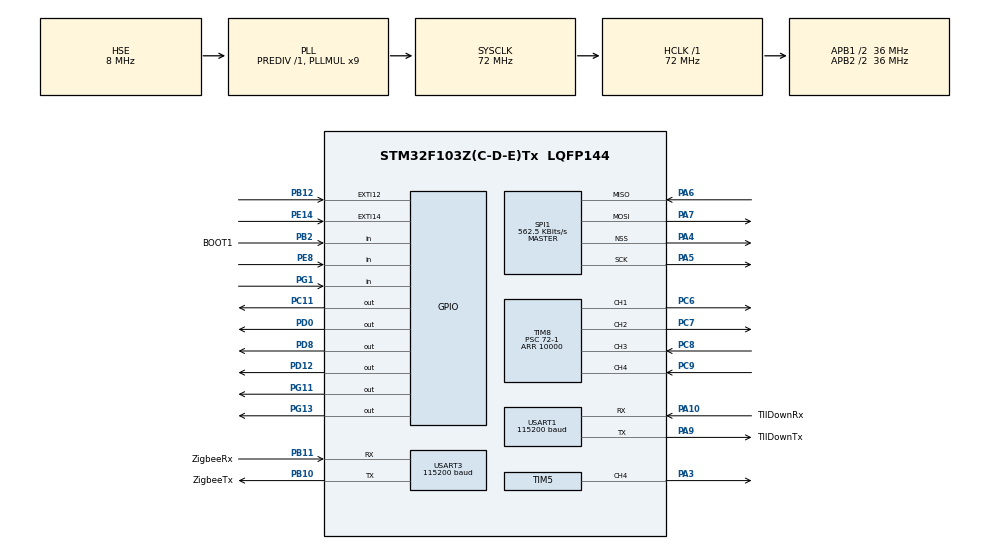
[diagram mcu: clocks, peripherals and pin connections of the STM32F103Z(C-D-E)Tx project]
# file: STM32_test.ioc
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Dma.MEMTOMEM.0.Direction=DMA_MEMORY_TO_MEMORY
Dma.MEMTOMEM.0.Instance=DMA1_Channel1
Dma.MEMTOMEM.0.MemDataAlignment=DMA_MDATAALIGN_BYTE
Dma.MEMTOMEM.0.MemInc=DMA_MINC_ENABLE
Dma.MEMTOMEM.0.Mode=DMA_NORMAL
Dma.MEMTOMEM.0.PeriphDataAlignment=DMA_PDATAALIGN_BYTE
Dma.MEMTOMEM.0.PeriphInc=DMA_PINC_ENABLE
Dma.MEMTOMEM.0.Priority=DMA_PRIORITY_LOW
Dma.Request0=MEMTOMEM
Dma.Request1=USART1_RX
Dma.Request2=USART1_TX
Dma.Request3=USART3_RX
Dma.Request4=USART3_TX
Dma.USART1_RX.1.Direction=DMA_PERIPH_TO_MEMORY
Dma.USART1_RX.1.Instance=DMA1_Channel5
Dma.USART1_RX.1.MemDataAlignment=DMA_MDATAALIGN_BYTE
Dma.USART1_RX.1.MemInc=DMA_MINC_ENABLE
Dma.USART1_RX.1.Mode=DMA_CIRCULAR
Dma.USART1_RX.1.PeriphDataAlignment=DMA_PDATAALIGN_BYTE
Dma.USART1_RX.1.PeriphInc=DMA_PINC_DISABLE
Dma.USART1_RX.1.Priority=DMA_PRIORITY_MEDIUM
Dma.USART1_TX.2.Direction=DMA_MEMORY_TO_PERIPH
Dma.USART1_TX.2.Instance=DMA1_Channel4
Dma.USART1_TX.2.MemDataAlignment=DMA_MDATAALIGN_BYTE
Dma.USART1_TX.2.MemInc=DMA_MINC_ENABLE
Dma.USART1_TX.2.Mode=DMA_NORMAL
Dma.USART1_TX.2.PeriphDataAlignment=DMA_PDATAALIGN_BYTE
Dma.USART1_TX.2.PeriphInc=DMA_PINC_DISABLE
Dma.USART1_TX.2.Priority=DMA_PRIORITY_LOW
Dma.USART3_RX.3.Direction=DMA_PERIPH_TO_MEMORY
Dma.USART3_RX.3.Instance=DMA1_Channel3
Dma.USART3_RX.3.MemDataAlignment=DMA_MDATAALIGN_BYTE
Dma.USART3_RX.3.MemInc=DMA_MINC_ENABLE
Dma.USART3_RX.3.Mode=DMA_NORMAL
Dma.USART3_RX.3.PeriphDataAlignment=DMA_PDATAALIGN_BYTE
Dma.USART3_RX.3.PeriphInc=DMA_PINC_DISABLE
Dma.USART3_RX.3.Priority=DMA_PRIORITY_VERY_HIGH
Dma.USART3_TX.4.Direction=DMA_MEMORY_TO_PERIPH
Dma.USART3_TX.4.Instance=DMA1_Channel2
Dma.USART3_TX.4.MemDataAlignment=DMA_MDATAALIGN_BYTE
Dma.USART3_TX.4.MemInc=DMA_MINC_ENABLE
Dma.USART3_TX.4.Mode=DMA_NORMAL
Dma.USART3_TX.4.PeriphDataAlignment=DMA_PDATAALIGN_BYTE
Dma.USART3_TX.4.PeriphInc=DMA_PINC_DISABLE
Dma.USART3_TX.4.Priority=DMA_PRIORITY_LOW
FREERTOS.BinarySemaphores01=xBinSemDmaIsOk;xBinSemZigbeeRecieve
FREERTOS.HEAP_NUMBER=4
FREERTOS.Queues01=xQueueLogToPc,100,uint32_t,NULL;xQueueZigbeeRecieve,1,uint32_t,NULL;xQueueDma,100,uint32_t,NULL;xQueueTim8UpIrq,16,uint16_t,NULL;xQueueReceivedComData,1,uint32_t,NULL;xQueueMagMeasureData,1,uint32_t,NULL;xQueueDistMeasureData,1,uint32_t,NULL;xQueueSpeedMeasureData,1,uint32_t,NULL;xQueueMotorControlData,1,uint32_t,NULL;xQueueSendComData,1,uint32_t,NULL;xQueueRunTokenMotorControl,1,uint8_t,NULL;xQueueRunTokenDistMeasure,1,uint8_t,NULL;xQueueRunTokenSpeedMeasure,1,uint8_t,NULL;xQueueRunTokenMagMeasure,1,uint8_t,NULL
FREERTOS.Tasks01=LogToPc,-3,64,vTaskLogToPc,Default;ZigbeeHandler,-2,128,vTaskZigbeeHandler,As external;MagMeasure,0,64,vTaskMagMeasure,As external;DmaGatekeeper,-3,64,vTaskDmaGatekeeper,As external;PppHandler,-3,64,vTaskPppHandler,As external;ProcessManager,3,256,vTaskProcessManager,As external;DistMeasure,1,64,vTaskDistMeasure,As external;SpeedMeasure,0,64,vTaskSpeedMeasure,As external;MotorControl,2,64,vTaskMotorControl,As external
FREERTOS.Timers01=xTimerLogToPc,vTimerLogToPcCallback,osTimerOnce,Default;xTimerUltrasonicFront,vTimerUltrasonicFrontCallback,osTimerOnce,Default;xTimerUltrasonicLeft,vTimerUltrasonicLeftCallback,osTimerOnce,Default;xTimerUltrasonicBack,vTimerUltrasonicBackCallback,osTimerOnce,Default;xTimerUltrasonicRight,vTimerUltrasonicRightCallback,osTimerOnce,Default;xTimerUltrasonic,vTimerUltrasonicCallback,osTimerOnce,Default
FREERTOS.configCHECK_FOR_STACK_OVERFLOW=1
FREERTOS.configMAX_PRIORITIES=7
FREERTOS.configMAX_TASK_NAME_LEN=20
FREERTOS.configMINIMAL_STACK_SIZE=64
FREERTOS.configTIMER_TASK_PRIORITY=6
FREERTOS.configTOTAL_HEAP_SIZE=10000
FREERTOS.configUSE_COUNTING_SEMAPHORES=1
FREERTOS.configUSE_IDLE_HOOK=1
FREERTOS.configUSE_TIMERS=1
Mcu.Family=STM32F1
Mcu.Name=STM32F103Z(C-D-E)Tx
Mcu.Package=LQFP144
NVIC.DMA1_Channel2_IRQn=true\:5\:0\:false\:false\:true
NVIC.DMA1_Channel3_IRQn=true\:5\:0\:false\:false\:true
NVIC.DMA1_Channel4_IRQn=true\:5\:0\:false\:false\:true
NVIC.DMA1_Channel5_IRQn=true\:5\:0\:false\:false\:true
NVIC.EXTI15_10_IRQn=true\:6\:0\:true\:false\:true
NVIC.PriorityGroup=NVIC_PRIORITYGROUP_4
NVIC.TIM1_UP_IRQn=true\:0\:0\:false\:false\:true
NVIC.TIM2_IRQn=true\:5\:0\:false\:false\:true
NVIC.TIM5_IRQn=true\:5\:0\:false\:false\:true
NVIC.TIM8_CC_IRQn=true\:5\:0\:false\:false\:true
NVIC.TIM8_UP_IRQn=true\:5\:0\:false\:false\:true
NVIC.TimeBase=TIM1_UP_IRQn
NVIC.TimeBaseIP=TIM1
NVIC.USART1_IRQn=true\:5\:0\:false\:false\:true
NVIC.USART3_IRQn=true\:5\:0\:false\:false\:true
OSC_IN.Mode=HSE-External-Oscillator
OSC_IN.Signal=RCC_OSC_IN
OSC_OUT.Mode=HSE-External-Oscillator
OSC_OUT.Signal=RCC_OSC_OUT
PA10.GPIO_Label=TllDownRx
PA10.GPIO_PuPd=GPIO_PULLUP
PA10.Mode=Asynchronous
PA10.Signal=USART1_RX
PA13.Mode=JTAG_5_pin
PA13.Signal=SYS_JTMS-SWDIO
PA14.Mode=JTAG_5_pin
PA14.Signal=SYS_JTCK-SWCLK
PA15.Mode=JTAG_5_pin
PA15.Signal=SYS_JTDI
PA3.Signal=S_TIM5_CH4
PA4.Mode=NSS_Signal_Hard_Output
PA4.Signal=SPI1_NSS
PA5.Mode=Full_Duplex_Master
PA5.Signal=SPI1_SCK
PA6.Mode=Full_Duplex_Master
PA6.Signal=SPI1_MISO
PA7.Mode=Full_Duplex_Master
PA7.Signal=SPI1_MOSI
PA9.GPIO_Label=TllDownTx
PA9.Mode=Asynchronous
PA9.Signal=USART1_TX
PB10.GPIO_Label=ZigbeeTx
PB10.Mode=Asynchronous
PB10.Signal=USART3_TX
PB11.GPIO_Label=ZigbeeRx
PB11.GPIO_PuPd=GPIO_NOPULL
PB11.Mode=Asynchronous
PB11.Signal=USART3_RX
PB12.Signal=GPXTI12
PB2.GPIO_Label=BOOT1
PB2.Signal=GPIO_Input
PB3.Mode=JTAG_5_pin
PB3.Signal=SYS_JTDO-TRACESWO
PB4.Mode=JTAG_5_pin
PB4.Signal=SYS_NJTRST
PC11.Signal=GPIO_Output
PC14-OSC32_IN.Mode=LSE-External-Oscillator
PC14-OSC32_IN.Signal=RCC_OSC32_IN
PC15-OSC32_OUT.Mode=LSE-External-Oscillator
PC15-OSC32_OUT.Signal=RCC_OSC32_OUT
PC6.Signal=S_TIM8_CH1
PC7.Signal=S_TIM8_CH2
PC8.Signal=S_TIM8_CH3
PC9.Signal=S_TIM8_CH4
PD0.Signal=GPIO_Output
PD12.Signal=GPIO_Output
PD8.Signal=GPIO_Output
PE14.Signal=GPXTI14
PE8.Signal=GPIO_Input
PG1.Signal=GPIO_Input
PG11.Signal=GPIO_Output
PG13.Signal=GPIO_Output
ProjectManager.HeapSize=0x200
ProjectManager.StackSize=0x400
ProjectManager.TargetToolchain=MDK-ARM V5
RCC.AHBFreq_Value=72000000
RCC.APB1CLKDivider=RCC_HCLK_DIV2
RCC.APB1Freq_Value=36000000
RCC.APB1TimFreq_Value=72000000
RCC.APB2CLKDivider=RCC_HCLK_DIV2
RCC.APB2Freq_Value=36000000
RCC.APB2TimFreq_Value=72000000
RCC.HCLKFreq_Value=72000000
RCC.HSIState=RCC_HSI_ON
RCC.PLLMUL=RCC_PLL_MUL9
RCC.PLLSourceVirtual=RCC_PLLSOURCE_HSE
RCC.RTCClockSelection=RCC_RTCCLKSOURCE_LSE
RCC.SYSCLKFreq_VALUE=72000000
RCC.SYSCLKSource=RCC_SYSCLKSOURCE_PLLCLK
RCC.TimSys_Div=SYSTICK_CLKSOURCE_HCLK_DIV8
RCC.USBFreq_Value=48000000
RCC.USBPrescaler=RCC_USBCLKSOURCE_PLL_DIV1_5
RTC.Date=8
RTC.Hours=10
RTC.Minutes=35
RTC.Month=RTC_MONTH_APRIL
RTC.WeekDay=RTC_WEEKDAY_FRIDAY
RTC.Year=16
SH.S_TIM5_CH4.0=TIM5_CH4,PWM Generation4 CH4
SH.S_TIM8_CH1.0=TIM8_CH1,PWM Generation1 CH1
SH.S_TIM8_CH2.0=TIM8_CH2,PWM Generation2 CH2
SH.S_TIM8_CH3.0=TIM8_CH3,Input_Capture3_from_TI3
SH.S_TIM8_CH4.0=TIM8_CH4,Input_Capture4_from_TI4
SPI1.BaudRatePrescaler=SPI_BAUDRATEPRESCALER_64
SPI1.CLKPolarity=SPI_POLARITY_LOW
SPI1.CalculateBaudRate=562.5 KBits/s
SPI1.Mode=SPI_MODE_MASTER
SPI1.VirtualNSS=VM_NSSHARD
TIM2.Period=29
TIM2.Prescaler=7199
TIM3.Period=29
TIM3.Prescaler=7199
TIM4.Period=29
TIM4.Prescaler=7199
TIM5.Channel-PWM\ Generation4\ CH4=TIM_CHANNEL_4
TIM5.Period=2000-1
TIM5.Prescaler=720-1
TIM6.Period=29
TIM6.Prescaler=7199
TIM7.Period=29
TIM7.Prescaler=7199
TIM8.Channel-Input_Capture3_from_TI3=TIM_CHANNEL_3
TIM8.Channel-Input_Capture4_from_TI4=TIM_CHANNEL_4
TIM8.Channel-PWM\ Generation2\ CH2=TIM_CHANNEL_2
TIM8.ICFilter_CH3=15
TIM8.ICFilter_CH4=15
TIM8.Period=10000
TIM8.Prescaler=72-1
TIM8.Pulse-PWM\ Generation1\ CH1=1000
TIM8.Pulse-PWM\ Generation2\ CH2=1000
USART1.BaudRate=115200
USART3.BaudRate=115200
VP_FREERTOS_VS_ENABLE.Mode=Enabled
VP_RTC_No_RTC_Output.Mode=RTC_OUT_NO
VP_SYS_VS_tim1.Mode=TIM1
VP_TIM2_VS_ClockSourceINT.Mode=Internal
VP_TIM3_VS_ClockSourceINT.Mode=Internal
VP_TIM4_VS_ClockSourceINT.Mode=Internal
VP_TIM6_VS_ClockSourceINT.Mode=Enable_Timer
VP_TIM7_VS_ClockSourceINT.Mode=Enable_Timer
board=STM32_test

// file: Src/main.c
/**
  ******************************************************************************
  * File Name          : main.c
  * Description        : Main program body
  ******************************************************************************
  *
  * COPYRIGHT(c) 2016 STMicroelectronics
  *
  * Redistribution and use in source and binary forms, with or without modification,
  * are permitted provided that the following conditions are met:
  *   1. Redistributions of source code must retain the above copyright notice,
  *      this list of conditions and the following disclaimer.
  *   2. Redistributions in binary form must reproduce the above copyright notice,
  *      this list of conditions and the following disclaimer in the documentation
  *      and/or other materials provided with the distribution.
  *   3. Neither the name of STMicroelectronics nor the names of its contributors
  *      may be used to endorse or promote products derived from this software
  *      without specific prior written permission.
  *
  * THIS SOFTWARE IS PROVIDED BY THE COPYRIGHT HOLDERS AND CONTRIBUTORS "AS IS"
  * AND ANY EXPRESS OR IMPLIED WARRANTIES, INCLUDING, BUT NOT LIMITED TO, THE
  * IMPLIED WARRANTIES OF MERCHANTABILITY AND FITNESS FOR A PARTICULAR PURPOSE ARE
  * DISCLAIMED. IN NO EVENT SHALL THE COPYRIGHT HOLDER OR CONTRIBUTORS BE LIABLE
  * FOR ANY DIRECT, INDIRECT, INCIDENTAL, SPECIAL, EXEMPLARY, OR CONSEQUENTIAL
  * DAMAGES (INCLUDING, BUT NOT LIMITED TO, PROCUREMENT OF SUBSTITUTE GOODS OR
  * SERVICES; LOSS OF USE, DATA, OR PROFITS; OR BUSINESS INTERRUPTION) HOWEVER
  * CAUSED AND ON ANY THEORY OF LIABILITY, WHETHER IN CONTRACT, STRICT LIABILITY,
  * OR TORT (INCLUDING NEGLIGENCE OR OTHERWISE) ARISING IN ANY WAY OUT OF THE USE
  * OF THIS SOFTWARE, EVEN IF ADVISED OF THE POSSIBILITY OF SUCH DAMAGE.
  *
  ******************************************************************************
  */
#include "stm32f1xx_hal.h"
#include "cmsis_os.h"
#include "dma.h"
#include "rtc.h"
#include "spi.h"
#include "tim.h"
#include "usart.h"
#include "gpio.h"

/* USER CODE BEGIN Includes */
#include "main.h"
/* USER CODE END Includes */

/* USER CODE BEGIN PV */
/* Private variables ---------------------------------------------------------*/

/* USER CODE END PV */

void SystemClock_Config(void);
void MX_FREERTOS_Init(void);

/* USER CODE BEGIN PFP */
/* Private function prototypes -----------------------------------------------*/

/* USER CODE END PFP */

int main(void)
{

  /* MCU Configuration----------------------------------------------------------*/

  /* Reset of all peripherals, Initializes the Flash interface and the Systick. */
  HAL_Init();

  /* Configure the system clock */
  SystemClock_Config();

  /* Initialize all configured peripherals */
  MX_GPIO_Init();
  MX_DMA_Init();
  MX_USART1_UART_Init();
  MX_USART3_UART_Init();
  MX_RTC_Init();
  MX_TIM2_Init();
  MX_TIM3_Init();
  MX_TIM4_Init();
  MX_TIM5_Init();
  MX_TIM6_Init();
  MX_TIM7_Init();
  MX_TIM8_Init();
  MX_SPI1_Init();

  /* Call init function for freertos objects (in freertos.c) */
  MX_FREERTOS_Init();

  /* Start scheduler */
  osKernelStart();

  /* We should never get here as control is now taken by the scheduler */

  /* Infinite loop */
  while (1)
  {

  /* USER CODE BEGIN 3 */
//		consoleLog("Fatal error!!! OS Failed to start!!!\r\n");
  }
  /* USER CODE END 3 */

}

/** System Clock Configuration
*/
void SystemClock_Config(void)
{

  RCC_OscInitTypeDef RCC_OscInitStruct;
  RCC_ClkInitTypeDef RCC_ClkInitStruct;
  RCC_PeriphCLKInitTypeDef PeriphClkInit;

  RCC_OscInitStruct.OscillatorType = RCC_OSCILLATORTYPE_HSE|RCC_OSCILLATORTYPE_LSE;
  RCC_OscInitStruct.HSEState = RCC_HSE_ON;
  RCC_OscInitStruct.HSEPredivValue = RCC_HSE_PREDIV_DIV1;
  RCC_OscInitStruct.LSEState = RCC_LSE_ON;
  RCC_OscInitStruct.PLL.PLLState = RCC_PLL_ON;
  RCC_OscInitStruct.PLL.PLLSource = RCC_PLLSOURCE_HSE;
  RCC_OscInitStruct.PLL.PLLMUL = RCC_PLL_MUL9;
  HAL_RCC_OscConfig(&RCC_OscInitStruct);

  RCC_ClkInitStruct.ClockType = RCC_CLOCKTYPE_HCLK|RCC_CLOCKTYPE_SYSCLK
                              |RCC_CLOCKTYPE_PCLK1|RCC_CLOCKTYPE_PCLK2;
  RCC_ClkInitStruct.SYSCLKSource = RCC_SYSCLKSOURCE_PLLCLK;
  RCC_ClkInitStruct.AHBCLKDivider = RCC_SYSCLK_DIV1;
  RCC_ClkInitStruct.APB1CLKDivider = RCC_HCLK_DIV2;
  RCC_ClkInitStruct.APB2CLKDivider = RCC_HCLK_DIV2;
  HAL_RCC_ClockConfig(&RCC_ClkInitStruct, FLASH_LATENCY_2);

  PeriphClkInit.PeriphClockSelection = RCC_PERIPHCLK_RTC;
  PeriphClkInit.RTCClockSelection = RCC_RTCCLKSOURCE_LSE;
  HAL_RCCEx_PeriphCLKConfig(&PeriphClkInit);

  HAL_SYSTICK_Config(HAL_RCC_GetHCLKFreq()/8000);

  HAL_SYSTICK_CLKSourceConfig(SYSTICK_CLKSOURCE_HCLK_DIV8);

  /* SysTick_IRQn interrupt configuration */
  HAL_NVIC_SetPriority(SysTick_IRQn, 15, 0);
}

/* USER CODE BEGIN 4 */
void consoleLog(portCHAR *msg){
	if(HAL_UART_Transmit_DMA(&huart1, (uint8_t *)msg, strlen(msg) ) != HAL_OK)
  {
//    Error_Handler(pcTaskGetTaskName(NULL));
  }
}
/* USER CODE END 4 */

#ifdef USE_FULL_ASSERT

/**
   * @brief Reports the name of the source file and the source line number
   * where the assert_param error has occurred.
   * @param file: pointer to the source file name
   * @param line: assert_param error line source number
   * @retval None
   */
void assert_failed(uint8_t* file, uint32_t line)
{
  /* USER CODE BEGIN 6 */
  /* User can add his own implementation to report the file name and line number,
    ex: printf("Wrong parameters value: file %s on line %d\r\n", file, line) */
	printf("Wrong parameters value: file %s on line %d\r\n", file, line);
  /* USER CODE END 6 */

}

#endif

/************************ (C) COPYRIGHT STMicroelectronics *****END OF FILE****/

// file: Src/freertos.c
/**
  ******************************************************************************
  * File Name          : freertos.c
  * Description        : Code for freertos applications
  ******************************************************************************
  *
  * COPYRIGHT(c) 2016 STMicroelectronics
  *
  * Redistribution and use in source and binary forms, with or without modification,
  * are permitted provided that the following conditions are met:
  *   1. Redistributions of source code must retain the above copyright notice,
  *      this list of conditions and the following disclaimer.
  *   2. Redistributions in binary form must reproduce the above copyright notice,
  *      this list of conditions and the following disclaimer in the documentation
  *      and/or other materials provided with the distribution.
  *   3. Neither the name of STMicroelectronics nor the names of its contributors
  *      may be used to endorse or promote products derived from this software
  *      without specific prior written permission.
  *
  * THIS SOFTWARE IS PROVIDED BY THE COPYRIGHT HOLDERS AND CONTRIBUTORS "AS IS"
  * AND ANY EXPRESS OR IMPLIED WARRANTIES, INCLUDING, BUT NOT LIMITED TO, THE
  * IMPLIED WARRANTIES OF MERCHANTABILITY AND FITNESS FOR A PARTICULAR PURPOSE ARE
  * DISCLAIMED. IN NO EVENT SHALL THE COPYRIGHT HOLDER OR CONTRIBUTORS BE LIABLE
  * FOR ANY DIRECT, INDIRECT, INCIDENTAL, SPECIAL, EXEMPLARY, OR CONSEQUENTIAL
  * DAMAGES (INCLUDING, BUT NOT LIMITED TO, PROCUREMENT OF SUBSTITUTE GOODS OR
  * SERVICES; LOSS OF USE, DATA, OR PROFITS; OR BUSINESS INTERRUPTION) HOWEVER
  * CAUSED AND ON ANY THEORY OF LIABILITY, WHETHER IN CONTRACT, STRICT LIABILITY,
  * OR TORT (INCLUDING NEGLIGENCE OR OTHERWISE) ARISING IN ANY WAY OUT OF THE USE
  * OF THIS SOFTWARE, EVEN IF ADVISED OF THE POSSIBILITY OF SUCH DAMAGE.
  *
  ******************************************************************************
  */

#include "FreeRTOS.h"
#include "task.h"
#include "cmsis_os.h"

/* USER CODE BEGIN Includes */
#include "usart.h"
#include "vTaskDmaGatekeeper.h"
#include "vTaskZigbeeHandler.h"
#include "vTaskMagMeasure.h"
#include "commonFuntion.h"
#include "string.h"
#include "usart.h"
/* USER CODE END Includes */

osThreadId LogToPcHandle;
osThreadId ZigbeeHandlerHandle;
osThreadId MagMeasureHandle;
osThreadId DmaGatekeeperHandle;
osThreadId PppHandlerHandle;
osThreadId ProcessManagerHandle;
osThreadId DistMeasureHandle;
osThreadId SpeedMeasureHandle;
osThreadId MotorControlHandle;
osMessageQId xQueueLogToPcHandle;
osMessageQId xQueueZigbeeRecieveHandle;
osMessageQId xQueueDmaHandle;
osMessageQId xQueueTim8UpIrqHandle;
osMessageQId xQueueReceivedComDataHandle;
osMessageQId xQueueMagMeasureDataHandle;
osMessageQId xQueueDistMeasureDataHandle;
osMessageQId xQueueSpeedMeasureDataHandle;
osMessageQId xQueueMotorControlDataHandle;
osMessageQId xQueueSendComDataHandle;
osMessageQId xQueueRunTokenMotorControlHandle;
osMessageQId xQueueRunTokenDistMeasureHandle;
osMessageQId xQueueRunTokenSpeedMeasureHandle;
osMessageQId xQueueRunTokenMagMeasureHandle;
osTimerId xTimerLogToPcHandle;
osTimerId xTimerUltrasonicFrontHandle;
osTimerId xTimerUltrasonicLeftHandle;
osTimerId xTimerUltrasonicBackHandle;
osTimerId xTimerUltrasonicRightHandle;
osTimerId xTimerUltrasonicHandle;
osSemaphoreId xBinSemDmaIsOkHandle;
osSemaphoreId xBinSemZigbeeRecieveHandle;

void vTaskLogToPc(void const * argument);
extern void vTaskZigbeeHandler(void const * argument);
extern void vTaskMagMeasure(void const * argument);
extern void vTaskDmaGatekeeper(void const * argument);
extern void vTaskPppHandler(void const * argument);
extern void vTaskProcessManager(void const * argument);
extern void vTaskDistMeasure(void const * argument);
extern void vTaskSpeedMeasure(void const * argument);
extern void vTaskMotorControl(void const * argument);
void vTimerLogToPcCallback(void const * argument);
void vTimerUltrasonicFrontCallback(void const * argument);
void vTimerUltrasonicLeftCallback(void const * argument);
void vTimerUltrasonicBackCallback(void const * argument);
void vTimerUltrasonicRightCallback(void const * argument);
void vTimerUltrasonicCallback(void const * argument);

void MX_FREERTOS_Init(void); /* (MISRA C 2004 rule 8.1) */

/* Hook prototypes */
void vApplicationIdleHook(void);
void vApplicationStackOverflowHook(xTaskHandle xTask, signed char *pcTaskName);

/* USER CODE BEGIN 2 */
unsigned long ulIdleCycleCount = 0UL;
void vApplicationIdleHook( void )
{
   /* vApplicationIdleHook() will only be called if configUSE_IDLE_HOOK is set
   to 1 in FreeRTOSConfig.h. It will be called on each iteration of the idle
   task. It is essential that code added to this hook function never attempts
   to block in any way (for example, call xQueueReceive() with a block time
   specified, or call vTaskDelay()). If the application makes use of the
   vTaskDelete() API function (as this demo application does) then it is also
   important that vApplicationIdleHook() is permitted to return to its calling
   function, because it is the responsibility of the idle task to clean up
   memory allocated by the kernel to any task that has since been deleted. */
	ulIdleCycleCount++;
}
/* USER CODE END 2 */

/* USER CODE BEGIN 4 */
void vApplicationStackOverflowHook(xTaskHandle xTask, signed char *pcTaskName)
{
   /* Run time stack overflow checking is performed if
   configCHECK_FOR_STACK_OVERFLOW is defined to 1 or 2. This hook function is
   called if a stack overflow is detected. */
	consoleLog((portCHAR *)pcTaskName);
	consoleLog(" has been overflowed");
}
/* USER CODE END 4 */

/* Init FreeRTOS */

void MX_FREERTOS_Init(void) {

  /* Create the semaphores(s) */
  /* definition and creation of xBinSemDmaIsOk */
  osSemaphoreDef(xBinSemDmaIsOk);
  xBinSemDmaIsOkHandle = osSemaphoreCreate(osSemaphore(xBinSemDmaIsOk), 1);

  /* definition and creation of xBinSemZigbeeRecieve */
  osSemaphoreDef(xBinSemZigbeeRecieve);
  xBinSemZigbeeRecieveHandle = osSemaphoreCreate(osSemaphore(xBinSemZigbeeRecieve), 1);

  /* Create the timer(s) */
  /* definition and creation of xTimerLogToPc */
  osTimerDef(xTimerLogToPc, vTimerLogToPcCallback);
  xTimerLogToPcHandle = osTimerCreate(osTimer(xTimerLogToPc), osTimerOnce, NULL);

  /* definition and creation of xTimerUltrasonicFront */
  osTimerDef(xTimerUltrasonicFront, vTimerUltrasonicFrontCallback);
  xTimerUltrasonicFrontHandle = osTimerCreate(osTimer(xTimerUltrasonicFront), osTimerOnce, NULL);

  /* definition and creation of xTimerUltrasonicLeft */
  osTimerDef(xTimerUltrasonicLeft, vTimerUltrasonicLeftCallback);
  xTimerUltrasonicLeftHandle = osTimerCreate(osTimer(xTimerUltrasonicLeft), osTimerOnce, NULL);

  /* definition and creation of xTimerUltrasonicBack */
  osTimerDef(xTimerUltrasonicBack, vTimerUltrasonicBackCallback);
  xTimerUltrasonicBackHandle = osTimerCreate(osTimer(xTimerUltrasonicBack), osTimerOnce, NULL);

  /* definition and creation of xTimerUltrasonicRight */
  osTimerDef(xTimerUltrasonicRight, vTimerUltrasonicRightCallback);
  xTimerUltrasonicRightHandle = osTimerCreate(osTimer(xTimerUltrasonicRight), osTimerOnce, NULL);

  /* definition and creation of xTimerUltrasonic */
  osTimerDef(xTimerUltrasonic, vTimerUltrasonicCallback);
  xTimerUltrasonicHandle = osTimerCreate(osTimer(xTimerUltrasonic), osTimerOnce, NULL);

  /* USER CODE BEGIN RTOS_TIMERS */
  /* start timers, add new ones, ... */
	osTimerStart	(	xTimerLogToPcHandle, 1000 );
  /* USER CODE END RTOS_TIMERS */

  /* Create the thread(s) */
  /* definition and creation of LogToPc */
  osThreadDef(LogToPc, vTaskLogToPc, osPriorityIdle, 0, 64);
  LogToPcHandle = osThreadCreate(osThread(LogToPc), NULL);

  /* definition and creation of ZigbeeHandler */
  osThreadDef(ZigbeeHandler, vTaskZigbeeHandler, osPriorityLow, 0, 128);
  ZigbeeHandlerHandle = osThreadCreate(osThread(ZigbeeHandler), NULL);

  /* definition and creation of MagMeasure */
  osThreadDef(MagMeasure, vTaskMagMeasure, osPriorityNormal, 0, 64);
  MagMeasureHandle = osThreadCreate(osThread(MagMeasure), NULL);

  /* definition and creation of DmaGatekeeper */
  osThreadDef(DmaGatekeeper, vTaskDmaGatekeeper, osPriorityIdle, 0, 64);
  DmaGatekeeperHandle = osThreadCreate(osThread(DmaGatekeeper), NULL);

  /* definition and creation of PppHandler */
  osThreadDef(PppHandler, vTaskPppHandler, osPriorityIdle, 0, 64);
  PppHandlerHandle = osThreadCreate(osThread(PppHandler), NULL);

  /* definition and creation of ProcessManager */
  osThreadDef(ProcessManager, vTaskProcessManager, osPriorityRealtime, 0, 256);
  ProcessManagerHandle = osThreadCreate(osThread(ProcessManager), NULL);

  /* definition and creation of DistMeasure */
  osThreadDef(DistMeasure, vTaskDistMeasure, osPriorityAboveNormal, 0, 64);
  DistMeasureHandle = osThreadCreate(osThread(DistMeasure), NULL);

  /* definition and creation of SpeedMeasure */
  osThreadDef(SpeedMeasure, vTaskSpeedMeasure, osPriorityNormal, 0, 64);
  SpeedMeasureHandle = osThreadCreate(osThread(SpeedMeasure), NULL);

  /* definition and creation of MotorControl */
  osThreadDef(MotorControl, vTaskMotorControl, osPriorityHigh, 0, 64);
  MotorControlHandle = osThreadCreate(osThread(MotorControl), NULL);

  /* Create the queue(s) */
  /* definition and creation of xQueueLogToPc */
  osMessageQDef(xQueueLogToPc, 100, uint32_t);
  xQueueLogToPcHandle = osMessageCreate(osMessageQ(xQueueLogToPc), NULL);

  /* definition and creation of xQueueZigbeeRecieve */
  osMessageQDef(xQueueZigbeeRecieve, 1, uint32_t);
  xQueueZigbeeRecieveHandle = osMessageCreate(osMessageQ(xQueueZigbeeRecieve), NULL);

  /* definition and creation of xQueueDma */
  osMessageQDef(xQueueDma, 100, uint32_t);
  xQueueDmaHandle = osMessageCreate(osMessageQ(xQueueDma), NULL);

  /* definition and creation of xQueueTim8UpIrq */
  osMessageQDef(xQueueTim8UpIrq, 16, uint16_t);
  xQueueTim8UpIrqHandle = osMessageCreate(osMessageQ(xQueueTim8UpIrq), NULL);

  /* definition and creation of xQueueReceivedComData */
  osMessageQDef(xQueueReceivedComData, 1, uint32_t);
  xQueueReceivedComDataHandle = osMessageCreate(osMessageQ(xQueueReceivedComData), NULL);

  /* definition and creation of xQueueMagMeasureData */
  osMessageQDef(xQueueMagMeasureData, 1, uint32_t);
  xQueueMagMeasureDataHandle = osMessageCreate(osMessageQ(xQueueMagMeasureData), NULL);

  /* definition and creation of xQueueDistMeasureData */
  osMessageQDef(xQueueDistMeasureData, 1, uint32_t);
  xQueueDistMeasureDataHandle = osMessageCreate(osMessageQ(xQueueDistMeasureData), NULL);

  /* definition and creation of xQueueSpeedMeasureData */
  osMessageQDef(xQueueSpeedMeasureData, 1, uint32_t);
  xQueueSpeedMeasureDataHandle = osMessageCreate(osMessageQ(xQueueSpeedMeasureData), NULL);

  /* definition and creation of xQueueMotorControlData */
  osMessageQDef(xQueueMotorControlData, 1, uint32_t);
  xQueueMotorControlDataHandle = osMessageCreate(osMessageQ(xQueueMotorControlData), NULL);

  /* definition and creation of xQueueSendComData */
  osMessageQDef(xQueueSendComData, 1, uint32_t);
  xQueueSendComDataHandle = osMessageCreate(osMessageQ(xQueueSendComData), NULL);

  /* definition and creation of xQueueRunTokenMotorControl */
  osMessageQDef(xQueueRunTokenMotorControl, 1, uint8_t);
  xQueueRunTokenMotorControlHandle = osMessageCreate(osMessageQ(xQueueRunTokenMotorControl), NULL);

  /* definition and creation of xQueueRunTokenDistMeasure */
  osMessageQDef(xQueueRunTokenDistMeasure, 1, uint8_t);
  xQueueRunTokenDistMeasureHandle = osMessageCreate(osMessageQ(xQueueRunTokenDistMeasure), NULL);

  /* definition and creation of xQueueRunTokenSpeedMeasure */
  osMessageQDef(xQueueRunTokenSpeedMeasure, 1, uint8_t);
  xQueueRunTokenSpeedMeasureHandle = osMessageCreate(osMessageQ(xQueueRunTokenSpeedMeasure), NULL);

  /* definition and creation of xQueueRunTokenMagMeasure */
  osMessageQDef(xQueueRunTokenMagMeasure, 1, uint8_t);
  xQueueRunTokenMagMeasureHandle = osMessageCreate(osMessageQ(xQueueRunTokenMagMeasure), NULL);

}

/* vTaskLogToPc function */
void vTaskLogToPc(void const * argument)
{

  /* USER CODE BEGIN vTaskLogToPc */
	osEvent eventLogToPc;
  /* Infinite loop */
  for(;;)
  {
		/* 从xQueueLogToPcHandle中Get要发送的日志 */
		eventLogToPc = osMessageGet	(	xQueueLogToPcHandle, osWaitForever );
		if(0 == uxQueueMessagesWaiting(xQueueDmaHandle)){
			/* 向xQueueDmaTxDataHandle中Put要�?�过DMA发�?�的数据 */
			if( osOK != osMessagePut ( xQueueDmaHandle, (uint32_t)eventLogToPc.value.p, 0 ) ){
	//			Error_Handler(pcTaskGetTaskName(NULL));
			}
		}
		osThreadYield();
  }
  /* USER CODE END vTaskLogToPc */
}

/* vTimerLogToPcCallback function */
void vTimerLogToPcCallback(void const * argument)
{
  /* USER CODE BEGIN vTimerLogToPcCallback */
	#ifdef DEBUG

	#endif
  /* USER CODE END vTimerLogToPcCallback */
}

/* vTimerUltrasonicFrontCallback function */
void vTimerUltrasonicFrontCallback(void const * argument)
{
}

/* vTimerUltrasonicLeftCallback function */
void vTimerUltrasonicLeftCallback(void const * argument)
{
}

/* vTimerUltrasonicBackCallback function */
void vTimerUltrasonicBackCallback(void const * argument)
{
}

/* vTimerUltrasonicRightCallback function */
void vTimerUltrasonicRightCallback(void const * argument)
{
}

/* vTimerUltrasonicCallback function */
void vTimerUltrasonicCallback(void const * argument)
{
}

/************************ (C) COPYRIGHT STMicroelectronics *****END OF FILE****/
